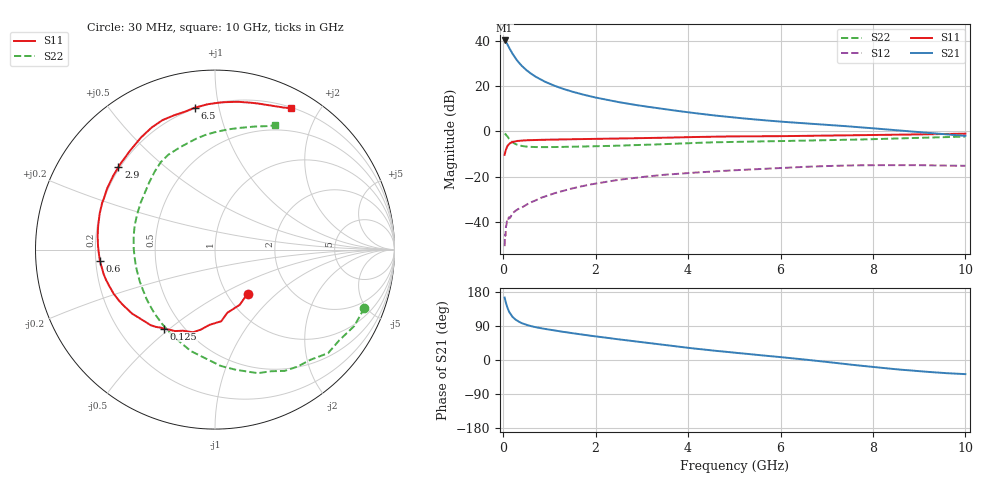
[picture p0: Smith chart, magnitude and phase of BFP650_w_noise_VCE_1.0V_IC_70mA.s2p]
! Infineon Technologies  Discrete & RF Semiconductors
! BFP650
! VCE =  1.0 V,  IC =  70 mA
! Common Emitter S-Parameters:  Jan 2016
# GHz  S  MA  R  50
!  f  S11  S21  S12  S22
! GHz  MAG  ANG  MAG  ANG  MAG  ANG  MAG  ANG
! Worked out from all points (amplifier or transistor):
!   229 points, 30 MHz to 10 GHz, reference 50 ohm
!   highest |S21| = 40.2 dB at 30 MHz (marker M1)
!   |S21| within 3 dB of that: start of sweep to 122.4 MHz
!   unconditionally stable (mu >= 1): 1.503 GHz to end of sweep
!   at 280 MHz: K = 0.58, MSG = 33.4 dB, |S12| = -34.9 dB
!   at 1.78 GHz: K = 1.01, MAG = 19.3 dB, |S12| = -23.9 dB
!   at 10 GHz: K = 1.04, MAG = 5.5 dB, |S12| = -15.2 dB
!   lowest NFmin = 1.15 dB at 450 MHz
!   S11 on the Smith chart (normalised r, x): 30 MHz: 1.24, -0.67; 125 MHz: 0.40, -0.48; 600 MHz: 0.22, -0.05; 2.9 GHz: 0.19, +0.36; 6.5 GHz: 0.19, +0.85; 10 GHz: 0.21, +1.65
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0.03  0.3048 -53.4  102.9 164.7  0.0029 85.8  0.8935 -21.3
0.04  0.3371 -65.9  101.8 159.4  0.0052 70.1  0.8853 -28.7
0.05  0.3588 -79.0  98.4 154.2  0.005 41.7  0.8571 -36.2
0.06  0.4006 -85.0  96.39 150.1  0.0081 74.0  0.8542 -42.5
0.08  0.4541 -100.3  88.85 141.7  0.0103 67.4  0.7975 -54.9
0.1  0.4857 -111.5  81.21 135.0  0.01 57.8  0.7465 -65.2
0.125  0.5228 -122.7  72 128.1  0.0126 58.0  0.6895 -77.8
0.15  0.5529 -130.4  64.5 122.5  0.0123 52.2  0.6477 -87.4
0.2  0.5837 -142.4  52.49 114.0  0.0155 53.5  0.5811 -103.4
0.26  0.6051 -151.7  42.33 107.2  0.0174 49.3  0.53 -117.4
0.3  0.6157 -156.4  37.13 103.7  0.0186 53.5  0.509 -125.1
0.4  0.6301 -164.5  28.33 97.3  0.0207 52.7  0.4786 -139.1
0.6  0.6446 -174.5  19 89.4  0.027 55.9  0.4554 -156.8
1  0.6579 173.6  11.36 79.9  0.0395 57.3  0.4501 -175.7
1.7  0.6775 159.3  6.649 67.3  0.0612 53.4  0.4644 165.5
2.9  0.7079 139.5  3.804 48.4  0.0958 41.2  0.4988 142.9
3.4  0.7228 132.0  3.202 41.0  0.1079 35.4  0.5199 135.5
5.1  0.7788 111.1  1.984 18.2  0.1401 17.9  0.5907 115.0
6.5  0.7984 98.2  1.522 1.4  0.1648 4.3  0.6271 99.5
6.8  0.805 95.1  1.449 -2.4  0.169 0.8  0.6346 96.8
8.4  0.8434 75.8  1.086 -23.2  0.1798 -17.2  0.6912 78.7
10  0.8938 61.8  0.799 -37.3  0.174 -29.5  0.7688 64.3
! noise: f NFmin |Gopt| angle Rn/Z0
0.45  1.15  0.48  -171  0.06
0.9  1.17  0.49  -165  0.06
1.9  1.31  0.52  -151  0.08
2.4  1.4  0.5  -142  0.1
3.5  1.6  0.52  -118  0.17
